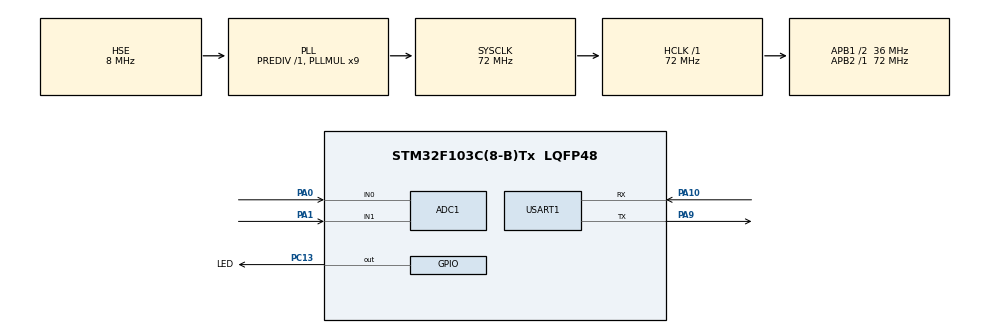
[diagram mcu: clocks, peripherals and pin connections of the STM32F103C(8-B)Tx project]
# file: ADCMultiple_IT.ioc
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ADC1.Channel-0\#ChannelRegularConversion=ADC_CHANNEL_0
ADC1.Channel-1\#ChannelRegularConversion=ADC_CHANNEL_1
ADC1.ContinuousConvMode=ENABLE
ADC1.DiscontinuousConvMode=DISABLE
ADC1.NbrOfConversion=2
ADC1.NbrOfConversionFlag=1
ADC1.Rank-0\#ChannelRegularConversion=1
ADC1.Rank-1\#ChannelRegularConversion=2
ADC1.SamplingTime-0\#ChannelRegularConversion=ADC_SAMPLETIME_1CYCLE_5
ADC1.SamplingTime-1\#ChannelRegularConversion=ADC_SAMPLETIME_1CYCLE_5
ADC1.master=1
Mcu.Family=STM32F1
Mcu.Name=STM32F103C(8-B)Tx
Mcu.Package=LQFP48
NVIC.ADC1_2_IRQn=true\:7\:0\:true\:false\:true\:true\:true\:true
NVIC.PriorityGroup=NVIC_PRIORITYGROUP_4
PA0-WKUP.Signal=ADCx_IN0
PA1.Signal=ADCx_IN1
PA10.Mode=Asynchronous
PA10.Signal=USART1_RX
PA13.Mode=Serial_Wire
PA13.Signal=SYS_JTMS-SWDIO
PA14.Mode=Serial_Wire
PA14.Signal=SYS_JTCK-SWCLK
PA9.Mode=Asynchronous
PA9.Signal=USART1_TX
PC13-TAMPER-RTC.GPIO_Label=LED
PC13-TAMPER-RTC.Signal=GPIO_Output
PD0-OSC_IN.Mode=HSE-External-Oscillator
PD0-OSC_IN.Signal=RCC_OSC_IN
PD1-OSC_OUT.Mode=HSE-External-Oscillator
PD1-OSC_OUT.Signal=RCC_OSC_OUT
ProjectManager.HeapSize=0x200
ProjectManager.StackSize=0x400
ProjectManager.TargetToolchain=MDK-ARM V5.32
RCC.ADCPresc=RCC_ADCPCLK2_DIV6
RCC.AHBFreq_Value=72000000
RCC.APB1CLKDivider=RCC_HCLK_DIV2
RCC.APB1Freq_Value=36000000
RCC.APB1TimFreq_Value=72000000
RCC.APB2Freq_Value=72000000
RCC.APB2TimFreq_Value=72000000
RCC.HCLKFreq_Value=72000000
RCC.PLLMUL=RCC_PLL_MUL9
RCC.PLLSourceVirtual=RCC_PLLSOURCE_HSE
RCC.SYSCLKFreq_VALUE=72000000
RCC.SYSCLKSource=RCC_SYSCLKSOURCE_PLLCLK
RCC.USBFreq_Value=72000000
SH.ADCx_IN0.0=ADC1_IN0,IN0
SH.ADCx_IN1.0=ADC1_IN1,IN1
USART1.VirtualMode=VM_ASYNC
board=custom

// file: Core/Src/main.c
/* USER CODE BEGIN Header */
/**
  ******************************************************************************
  * @file           : main.c
  * @brief          : Main program body
  ******************************************************************************
  * @attention
  *
  * Copyright (c) 2023 STMicroelectronics.
  * All rights reserved.
  *
  * This software is licensed under terms that can be found in the LICENSE file
  * in the root directory of this software component.
  * If no LICENSE file comes with this software, it is provided AS-IS.
  *
  ******************************************************************************
  */
/* USER CODE END Header */
#include "main.h"
#include "adc.h"
#include "usart.h"
#include "gpio.h"

void SystemClock_Config(void);

int main(void)
{
  /* USER CODE BEGIN 1 */
	uint8_t time = 0;
  /* USER CODE END 1 */

  /* MCU Configuration--------------------------------------------------------*/

  /* Reset of all peripherals, Initializes the Flash interface and the Systick. */
  HAL_Init();

  /* Configure the system clock */
  SystemClock_Config();

  /* Initialize all configured peripherals */
  MX_GPIO_Init();
  MX_ADC1_Init();
  MX_USART1_UART_Init();
  /* USER CODE BEGIN 2 */
	HAL_ADCEx_Calibration_Start(&hadc1);
	HAL_ADC_Start_IT(&hadc1);
  /* USER CODE END 2 */

  /* Infinite loop */
  /* USER CODE BEGIN WHILE */
  while (1)
  {
		if(time == 50)
		{
			HAL_GPIO_TogglePin(LED_GPIO_Port, LED_Pin);
			time = 0;
		}

		Send_16s(&huart1, adc_buffer, ADCBUFFERSIZE);

		HAL_Delay(10);
		time ++;
    /* USER CODE END WHILE */

  }
}

void SystemClock_Config(void)
{
  RCC_OscInitTypeDef RCC_OscInitStruct = {0};
  RCC_ClkInitTypeDef RCC_ClkInitStruct = {0};
  RCC_PeriphCLKInitTypeDef PeriphClkInit = {0};

  /** Initializes the RCC Oscillators according to the specified parameters
  * in the RCC_OscInitTypeDef structure.
  */
  RCC_OscInitStruct.OscillatorType = RCC_OSCILLATORTYPE_HSE;
  RCC_OscInitStruct.HSEState = RCC_HSE_ON;
  RCC_OscInitStruct.HSEPredivValue = RCC_HSE_PREDIV_DIV1;
  RCC_OscInitStruct.HSIState = RCC_HSI_ON;
  RCC_OscInitStruct.PLL.PLLState = RCC_PLL_ON;
  RCC_OscInitStruct.PLL.PLLSource = RCC_PLLSOURCE_HSE;
  RCC_OscInitStruct.PLL.PLLMUL = RCC_PLL_MUL9;
  if (HAL_RCC_OscConfig(&RCC_OscInitStruct) != HAL_OK)
  {
    Error_Handler();
  }

  /** Initializes the CPU, AHB and APB buses clocks
  */
  RCC_ClkInitStruct.ClockType = RCC_CLOCKTYPE_HCLK|RCC_CLOCKTYPE_SYSCLK
                              |RCC_CLOCKTYPE_PCLK1|RCC_CLOCKTYPE_PCLK2;
  RCC_ClkInitStruct.SYSCLKSource = RCC_SYSCLKSOURCE_PLLCLK;
  RCC_ClkInitStruct.AHBCLKDivider = RCC_SYSCLK_DIV1;
  RCC_ClkInitStruct.APB1CLKDivider = RCC_HCLK_DIV2;
  RCC_ClkInitStruct.APB2CLKDivider = RCC_HCLK_DIV1;

  if (HAL_RCC_ClockConfig(&RCC_ClkInitStruct, FLASH_LATENCY_2) != HAL_OK)
  {
    Error_Handler();
  }
  PeriphClkInit.PeriphClockSelection = RCC_PERIPHCLK_ADC;
  PeriphClkInit.AdcClockSelection = RCC_ADCPCLK2_DIV6;
  if (HAL_RCCEx_PeriphCLKConfig(&PeriphClkInit) != HAL_OK)
  {
    Error_Handler();
  }
}

/* USER CODE BEGIN 4 */
void HAL_ADC_ConvCpltCallback(ADC_HandleTypeDef* hadc) {
	if(hadc == &hadc1) {
		if(isadc == 0)
		{
			adc_buffer[0] = HAL_ADC_GetValue(&hadc1);
			isadc ++;
		}
		else if(isadc == 1)
		{
			adc_buffer[1] = HAL_ADC_GetValue(&hadc1);
			isadc = 0;
		}
  }
}

/* USER CODE END 4 */

void Error_Handler(void)
{
  __disable_irq();
  while (1)
  {
  }
}
